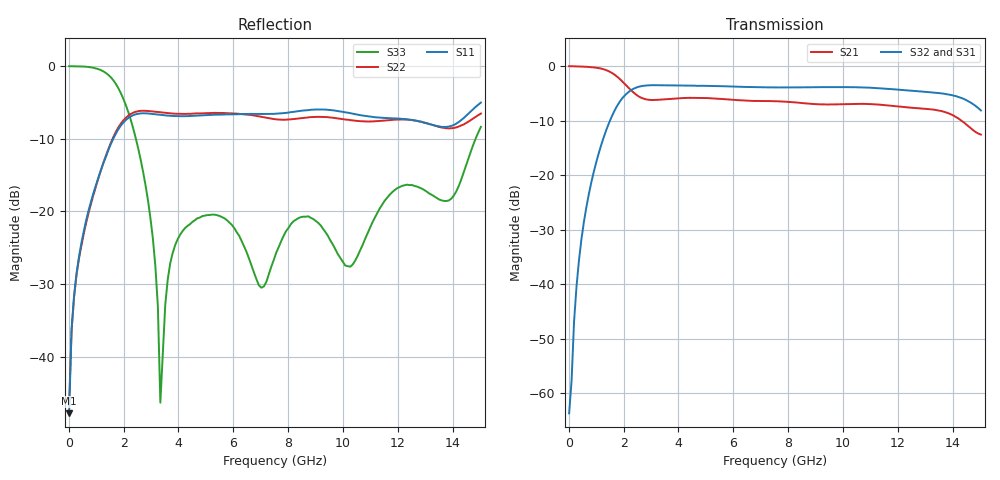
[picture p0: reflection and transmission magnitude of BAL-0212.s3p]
! MARKI MICROWAVE INC.
! Email:  info@markimicrowave.com  Phone:  408-778-4200
! Model Number:  BAL-0212  Date:  11/13
! Filename:		BAL-0212.S3P  Version: 1.0
! Description:  3-port S-parameter data for Balun BAL-0212
! Frequency Range: 	10 MHz to 15 GHz
! Port Configuration:	PORT 1: OUTPUT (0 DEGREE), PORT 2: OUTPUT (180 DEGREE), PORT 3: COMMON
! S3P File: Measurements: Mag<S11> Ang<S11> Mag<S12> Ang<S12> Mag<S13> Ang<S13>! row 1
!  Mag<S21> Ang<S21> Mag<S22> Ang<S22> Mag<S23> Ang<S23>! row 2
!  Mag<S31> Ang<S31> Mag<S32> Ang<S32> Mag<S33> Ang<S33>! row 3
# Hz S  dB  R 50
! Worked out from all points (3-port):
!   168 points, 10 MHz to 15.03 GHz, reference 50 ohm
!   strongest paths, dB at 10 MHz, 3.788 GHz, 7.566 GHz, 11.34 GHz, 15.03 GHz:
!     S32: -63.6, -3.5, -3.9, -4.1, -8.1
!     S31: -70.9, -3.4, -3.8, -4.2, -8.8
!     S21: 0.0, -6.0, -6.4, -7.1, -12.6
!   lowest |S11| = -47.8 dB at 10 MHz (marker M1), VSWR 1.01, Z = 50.2 + j0.367 ohm
!   |S11| at or under -10 dB: start of sweep to 1.62 GHz
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1e7  -47.81 63.9  -0.01 -1.3  -63.79 166.6
     -0.02 -1.4  -46.42 69.0  -67.06 -121.1
     -70.88 -111.9  -63.64 40.7  0.00 -1.3
7.296e8  -19.72 4.9  -0.16 -78.2  -23.34 87.1
         -0.16 -78.2  -20.05 6.0  -23.45 -85.3
         -23.36 87.1  -23.46 -85.3  -0.11 -93.1
1.71905e9  -9.27 -119.0  -1.76 170.7  -7.62 -47.5
           -1.77 170.7  -9.01 -117.2  -7.66 134.7
           -7.63 -47.6  -7.67 134.7  -2.47 123.5
3.33815e9  -6.70 35.9  -6.16 36.4  -3.33 93.4
           -6.15 36.4  -6.35 36.3  -3.49 -86.6
           -3.34 93.4  -3.51 -86.6  -46.34 -118.7
4.95725e9  -6.74 -115.9  -5.85 -108.5  -3.49 -80.8
           -5.85 -108.5  -6.48 -117.7  -3.61 98.4
           -3.50 -80.8  -3.62 98.4  -20.59 -109.8
6.03665e9  -6.62 148.3  -6.19 152.7  -3.61 169.1
           -6.20 152.7  -6.52 145.2  -3.76 -11.9
           -3.61 169.1  -3.76 -11.9  -22.31 138.1
7.5658e9  -6.54 15.2  -6.44 13.6  -3.82 16.7
          -6.43 13.6  -7.33 12.5  -3.90 -163.7
          -3.83 16.7  -3.91 -163.7  -25.68 112.1
9.5447e9  -6.04 -160.1  -7.03 -167.0  -3.89 -179.1
          -7.03 -167.0  -7.07 -157.7  -3.84 0.8
          -3.90 -179.1  -3.85 0.8  -24.03 -55.8
1.125375e10  -7.06 49.3  -7.04 33.2  -4.15 9.6
             -7.04 33.2  -7.58 53.5  -4.03 -170.0
             -4.16 9.6  -4.04 -170.0  -20.23 70.8
1.503165e10  -5.02 26.5  -12.56 51.5  -8.79 -36.0
             -12.56 51.5  -6.53 22.1  -8.11 159.4
             -8.80 -36.0  -8.13 159.4  -8.36 53.8
